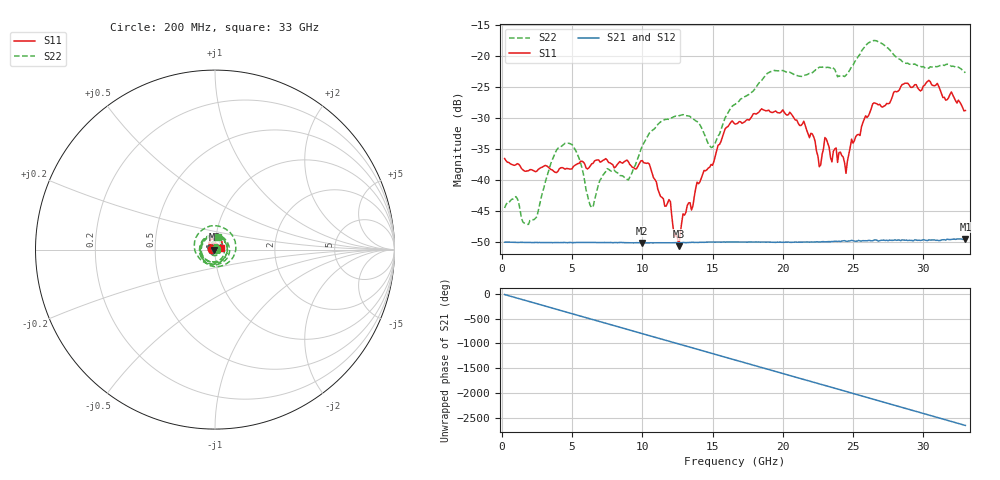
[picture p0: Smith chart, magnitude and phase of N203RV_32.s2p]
# GHZ S RI R 50
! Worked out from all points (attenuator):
!   329 points, 200 MHz to 33 GHz, reference 50 ohm
!   highest |S21| = -49.44 dB at 33 GHz (marker M1); lowest = -50.1 dB at 10 GHz (marker M2)
!   lowest |S11| = -50.6 dB at 12.6 GHz (marker M3), VSWR 1.01, Z = 49.7 - j0.00335 ohm
!   |S11| at or under -10 dB: start of sweep to end of sweep
!   |S22| runs from -47.1 to -17.4 dB; largest |S21 - S12| = 7.2e-05
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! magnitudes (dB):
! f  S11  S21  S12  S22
! 200 MHz  -36.5  -50.0  -50.0  -44.5
! 2.5 GHz  -38.5  -50.0  -50.0  -45.9
! 4.5 GHz  -38.2  -50.0  -50.0  -34.0
! 5.7 GHz  -36.9  -50.0  -50.0  -37.9
! 6.4 GHz  -37.3  -50.0  -50.0  -44.4
! 7.5 GHz  -36.7  -50.0  -50.0  -38.1
! 10 GHz  -36.8  -50.1  -50.1  -34.5
! 11.2 GHz  -42.0  -50.1  -50.1  -30.8
! 12 GHz  -43.4  -50.1  -50.1  -30.1
! 12.6 GHz  -50.6  -50.1  -50.0  -29.6
! 12.9 GHz  -45.4  -50.0  -50.0  -29.4
! 14.9 GHz  -37.4  -50.0  -49.9  -34.7
! 16.6 GHz  -30.9  -49.9  -49.9  -27.8
! 20 GHz  -28.6  -50.0  -49.9  -22.3
! 22.1 GHz  -32.5  -50.0  -49.9  -22.7
! 22.6 GHz  -37.8  -50.0  -49.9  -21.8
! 23 GHz  -33.1  -49.9  -49.9  -21.8
! 24.5 GHz  -38.9  -49.8  -49.8  -23.1
! 26.4 GHz  -27.7  -49.7  -49.7  -17.5
! 27.6 GHz  -27.6  -49.6  -49.7  -18.9
! 30.4 GHz  -23.9  -49.6  -49.6  -21.9
! 33 GHz  -28.7  -49.4  -49.4  -22.7
